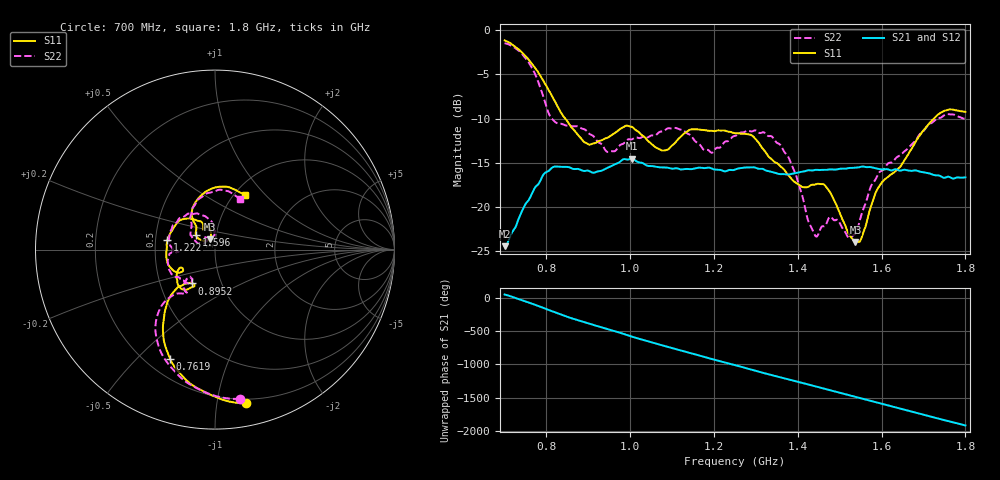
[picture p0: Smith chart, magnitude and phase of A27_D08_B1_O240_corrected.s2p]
! Created with skrf 1.9.0 (http://scikit-rf.org).
# Hz S RI R 50.0
!freq ReS11 ImS11 ReS21 ImS21 ReS12 ImS12 ReS22 ImS22
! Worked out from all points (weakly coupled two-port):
!   1601 points, 700 MHz to 1.8 GHz, reference 50 ohm
!   highest |S21| = -14.55 dB at 1.003 GHz (marker M1); lowest = -24.4 dB at 700.7 MHz (marker M2)
!   lowest |S11| = -24.0 dB at 1.537 GHz (marker M3), VSWR 1.14, Z = 46.9 + j5.3 ohm
!   |S11| at or under -10 dB: 844.5 MHz to 1.725 GHz (880.1 MHz wide, 68.5 % of centre)
!   |S22| runs from -23.6 to -1.5 dB; largest |S21 - S12| = 0.0036
!   S11 on the Smith chart (normalised r, x): 700 MHz: 0.17, -1.21; 761.9 MHz: 0.29, -0.63; 895.2 MHz: 0.72, -0.29; 1.222 GHz: 0.58, +0.06; 1.596 GHz: 0.80, +0.13; 1.8 GHz: 1.12, +0.77
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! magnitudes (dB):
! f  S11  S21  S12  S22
! 700 MHz  -1.2  -24.4  -24.2  -1.5
! 700.7 MHz  -1.2  -24.4  -24.1  -1.5
! 761.9 MHz  -3.6  -18.8  -18.8  -4.0
! 814.1 MHz  -7.5  -15.5  -15.6  -10.1
! 883.6 MHz  -12.3  -15.8  -15.7  -11.1
! 895.2 MHz  -12.8  -15.9  -16.0  -11.4
! 946.8 MHz  -12.1  -15.5  -15.6  -13.8
! 1.003 GHz  -10.9  -14.6  -14.7  -12.4
! 1.067 GHz  -13.4  -15.5  -15.4  -11.6
! 1.123 GHz  -11.9  -15.8  -15.7  -11.3
! 1.194 GHz  -11.4  -15.6  -15.6  -13.9
! 1.222 GHz  -11.3  -15.9  -16.0  -12.8
! 1.25 GHz  -11.7  -15.8  -15.7  -12.0
! 1.358 GHz  -15.4  -16.3  -16.2  -13.0
! 1.393 GHz  -17.2  -16.2  -16.2  -16.1
! 1.434 GHz  -17.5  -15.9  -15.8  -22.5
! 1.471 GHz  -17.9  -15.8  -15.8  -21.6
! 1.537 GHz  -24.0  -15.6  -15.6  -23.0
! 1.596 GHz  -17.5  -15.7  -15.7  -16.0
! 1.617 GHz  -16.5  -15.8  -15.7  -15.0
! 1.733 GHz  -9.6  -16.4  -16.5  -10.0
! 1.8 GHz  -9.2  -16.7  -16.7  -10.0
